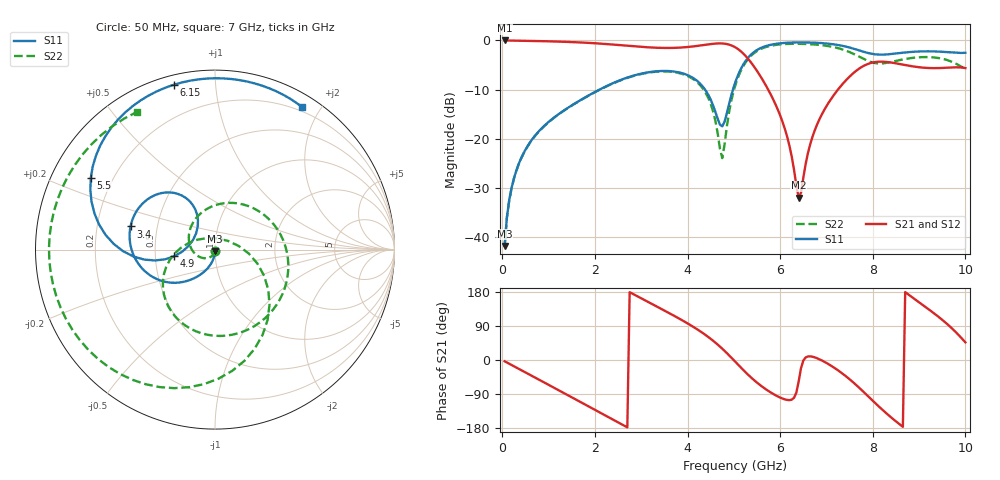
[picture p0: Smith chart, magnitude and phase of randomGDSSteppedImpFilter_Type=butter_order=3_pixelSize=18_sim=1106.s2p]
! freq	dB(S11)	phase(S11)	dB(S12)	phase(S12)
!  dB(S21)	phase(S21)	dB(S22)	phase(S22)
!S-par simulation data
#  GHz  S  DB  R 50
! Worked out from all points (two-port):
!   200 points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, 50 MHz to 10 GHz, reference 50 ohm
!   highest |S21| = -0.01 dB at 50 MHz (marker M1); lowest = -32.0 dB at 6.4 GHz (marker M2)
!   |S21| within 3 dB of the highest: start of sweep to 5.238 GHz
!   lowest |S11| = -41.8 dB at 50 MHz (marker M3), VSWR 1.02, Z = 50 - j0.813 ohm
!   |S11| at or under -10 dB: start of sweep to 2.099 GHz; 4.377 GHz to 4.981 GHz (603.8 MHz wide, 12.9 % of centre)
!   |S22| runs from -41.9 to -0.7 dB; largest |S21 - S12| = 0
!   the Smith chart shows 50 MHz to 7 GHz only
!   S11 on the Smith chart (normalised r, x): 50 MHz: 1.00, -0.02; 3.4 GHz: 0.35, +0.12; 4.9 GHz: 0.63, -0.05; 5.5 GHz: 0.12, +0.26; 6.15 GHz: 0.04, +0.78; 7 GHz: 0.15, +1.77
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0.05  -41.80 -89.0  -0.01 -3.3  -0.01 -3.3  -41.85 -92.9
0.45  -23.11 -103.4  -0.06 -29.5  -0.06 -29.5  -23.19 -136.1
1.75  -11.80 -135.2  -0.44 -115.0  -0.44 -115.0  -11.84 83.9
2.55  -8.07 -159.7  -0.96 -168.0  -0.96 -168.0  -8.13 2.9
3.4  -6.23 164.7  -1.51 137.0  -1.51 137.0  -6.32 -70.5
4.35  -9.63 119.4  -0.93 69.4  -0.93 69.4  -10.04 -154.6
4.75  -17.48 155.7  -0.62 29.8  -0.62 29.8  -23.94 78.9
4.9  -12.80 -170.8  -0.86 12.0  -0.86 12.0  -14.41 -6.8
5.05  -8.01 -171.9  -1.51 -7.0  -1.51 -7.0  -8.58 -37.1
5.5  -1.95 150.0  -6.19 -59.7  -6.19 -59.7  -2.16 -100.6
6.15  -0.47 104.1  -19.55 -105.4  -19.55 -105.4  -0.71 -163.6
6.4  -0.40 89.9  -31.99 -56.6  -31.99 -56.6  -0.68 175.3
6.7  -0.44 73.9  -19.54 8.6  -19.54 8.6  -0.80 149.0
7  -0.62 58.6  -13.37 -7.8  -13.37 -7.8  -1.10 119.4
7.4  -1.21 39.1  -8.32 -40.9  -8.32 -40.9  -2.01 68.7
7.75  -2.16 25.4  -5.47 -78.2  -5.47 -78.2  -3.52 6.1
8.05  -2.82 18.5  -4.40 -113.4  -4.40 -113.4  -4.61 -61.3
8.35  -2.81 12.7  -4.43 -146.7  -4.43 -146.7  -4.48 -125.9
8.75  -2.40 1.4  -5.10 174.5  -5.10 174.5  -3.70 167.1
9.25  -2.22 -15.4  -5.63 129.9  -5.63 129.9  -3.41 97.8
9.7  -2.45 -28.8  -5.50 84.5  -5.50 84.5  -4.31 25.6
10  -2.51 -34.9  -5.63 46.6  -5.63 46.6  -5.79 -43.9
